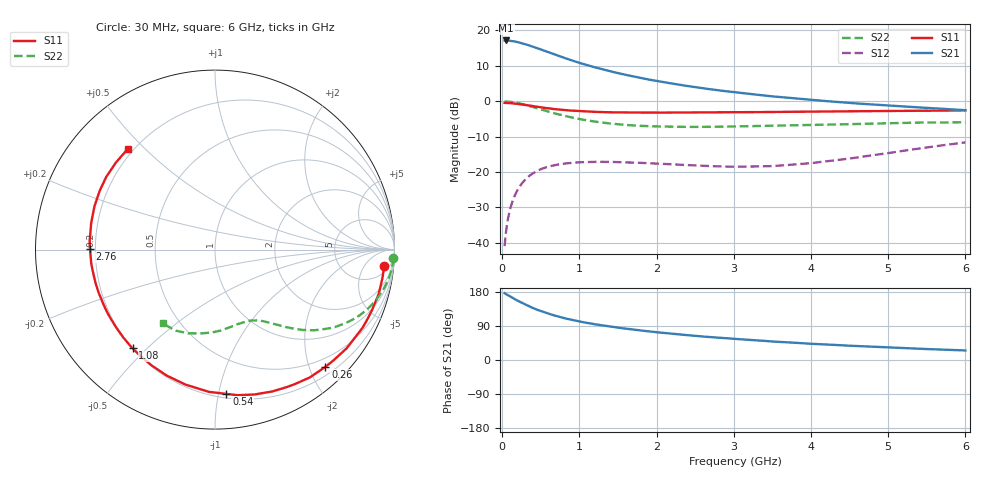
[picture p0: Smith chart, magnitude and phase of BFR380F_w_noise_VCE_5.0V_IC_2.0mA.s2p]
! Infineon Technologies  Discrete & RF Semiconductors
! BFR380F
! VCE =  5.0 V,  IC =  2.0 mA
! Common Emitter S-Parameters:  Nov 2015
# GHz  S  MA  R  50
!  f  S11  S21  S12  S22
! GHz  MAG  ANG  MAG  ANG  MAG  ANG  MAG  ANG
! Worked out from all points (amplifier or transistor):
!   206 points, 30 MHz to 6 GHz, reference 50 ohm
!   highest |S21| = 17.1 dB at 50 MHz (marker M1)
!   |S21| within 3 dB of that: start of sweep to 555 MHz
!   unconditionally stable (mu >= 1): 2.784 GHz to 5.018 GHz
!   at 200 MHz: K = 0.06, MSG = 20.8 dB, |S12| = -25.0 dB
!   at 1.56 GHz: K = 0.55, MSG = 12.4 dB, |S12| = -17.2 dB
!   at 6 GHz: K = 0.92, MSG = 4.5 dB, |S12| = -11.6 dB
!   lowest NFmin = 0.77 dB at 450 MHz
!   S11 on the Smith chart (normalised r, x): 30 MHz: 9, -16; 260 MHz: 0.34, -2.27; 540 MHz: 0.23, -1.06; 1.08 GHz: 0.20, -0.45; 2.76 GHz: 0.18, +0.00; 6 GHz: 0.18, +0.44
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0.03  0.9466 -5.6  7.149 176.3  0.009 87.2  0.9951 -2.7
0.05  0.9463 -9.5  7.198 173.4  0.0149 84.8  0.9933 -4.4
0.09  0.9424 -16.9  7.134 169.0  0.0267 80.7  0.9854 -8.0
0.15  0.9299 -28.1  7.003 162.1  0.0435 74.7  0.9656 -13.1
0.2  0.9168 -36.8  6.818 156.4  0.0565 69.9  0.9426 -17.1
0.26  0.8974 -46.7  6.55 150.3  0.0704 64.5  0.9105 -21.5
0.3  0.8869 -53.4  6.377 146.1  0.0789 61.2  0.8872 -24.2
0.4  0.8524 -68.0  5.87 136.9  0.0964 53.7  0.8252 -30.2
0.45  0.8366 -74.8  5.619 132.7  0.1038 50.4  0.7961 -32.8
0.54  0.8063 -85.5  5.168 126.3  0.1137 45.3  0.744 -36.6
0.7  0.7699 -102.3  4.467 115.9  0.1267 37.8  0.6641 -42.4
0.8  0.7518 -111.0  4.096 110.5  0.1316 34.3  0.6232 -45.0
1.04  0.7194 -127.5  3.372 100.1  0.1379 28.1  0.5502 -49.9
1.08  0.7162 -129.8  3.274 98.6  0.1385 27.2  0.5406 -50.6
1.3  0.7021 -141.1  2.813 91.2  0.1394 23.8  0.4983 -54.2
1.5  0.6955 -149.4  2.49 85.3  0.1384 21.9  0.4722 -57.1
2.02  0.691 -165.1  1.914 72.9  0.1315 21.0  0.4405 -64.5
2.76  0.697 179.8  1.444 59.4  0.1207 27.6  0.436 -75.2
3.1  0.6999 174.3  1.304 54.5  0.1192 33.5  0.4421 -80.2
4.1  0.7142 158.7  1.023 41.9  0.1378 53.0  0.4647 -94.2
5.1  0.7291 144.7  0.855 32.4  0.1925 64.2  0.4913 -109.4
6  0.7419 131.0  0.747 25.2  0.2622 64.7  0.5046 -125.4
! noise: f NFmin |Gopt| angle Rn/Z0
0.45  0.77  0.52  39  0.21
0.9  0.9  0.48  80  0.18
1.8  1.47  0.5  138  0.12
1.9  1.65  0.52  142  0.12
2.4  1.96  0.53  160  0.1
3.5  2.86  0.58  -170  0.13
